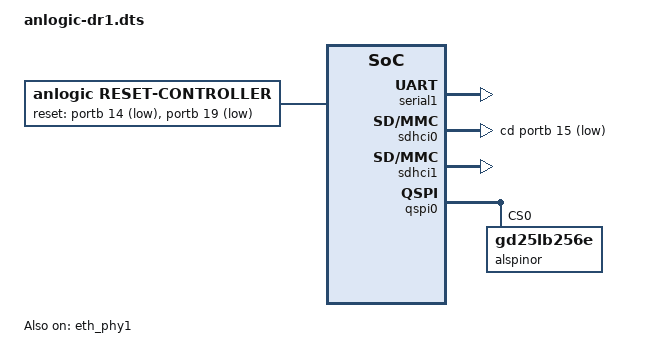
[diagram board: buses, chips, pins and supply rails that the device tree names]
// SPDX-License-Identifier: (GPL-2.0+ OR MIT)

/dts-v1/;
#include "anlogic-dr1m90.dts"
//#include "anlogic-dr1m90-softip.dts"

&cma {
	alloc-ranges = <0x0 0x00000000 0x0 0x1fffffff>;
	size = <0x0 0x8000000>;
};

&memory {
	reg = <0 0x00000000 0 0x40000000>;
};

&soc {
	leds {
		compatible = "gpio-leds";
		led1: led1 {
			gpios = <&portb 19 GPIO_ACTIVE_HIGH>;
			linux,default-trigger = "heartbeat";
			status = "disabled";
		};
	};

	keys {
		compatible = "gpio-keys";
		sw1: sw1 {
			gpios = <&portb 18 GPIO_ACTIVE_LOW>;
			linux,code = <108>;
			status = "disabled";
		};
	};

	reset: reset-controller {
		compatible = "anlogic,reset-controller";
		#reset-cells = <1>;
		reset-gpios = <&portb 14 GPIO_ACTIVE_LOW>, <&portb 19 GPIO_ACTIVE_LOW>;
		reset-delays = <10>, <10>;
		reset-post-delays = <0>, <100>;
	};
};

&serial0 {
	status = "disabled";
};

&serial1 {
	status = "okay";
};

&i2c0 {
	status = "disabled";
	
};

&i2c1 {
	 status = "disabled";

};

&gpio0 {
	status = "okay";
};

&gpio1 {
	status = "okay";
};

&gpio2 {
	status = "okay";
};

&gpio3 {
	status = "okay";
};

&eqos0 {
	phy-handle = <&eth_phy1>;
	resets = <&reset 1>;
	reset-names = "stmmaceth";
	status = "disabled";
};

&eth_phy0 {
	/* Realtek RTL8211F (0x001cc916) */
	status = "disabled";
};

&eth_phy1 {
	/* Motorcomm YT8531 (0x4f51e91b) */
	status = "okay";
};

&eqos1 {
	phy-handle = <&eth_phy3>;
	status = "disabled";
};

&eth_phy2 {
	/* Realtek RTL8211F (0x001cc916) */
	status = "disabled";
};

&eth_phy3 {
	/* Motorcomm YT8531 (0x4f51e91b) */
	status = "disabled";
};

&axidmac {
	status = "disabled";
};

&watchdog0 {
	status = "disabled";
};

&ipmscan0 {
	status = "disabled";
};

&ipmscan1 {
	status = "disabled";
};

&sdhci0 {
	status = "okay";
	cd-gpios=<&portb 15 GPIO_ACTIVE_LOW>;
};

&sdhci1 {
	status = "okay";
	//cd-gpios=<&porta 9 GPIO_ACTIVE_LOW>;
};

&ahb_dma {
	status = "okay";
};

&qspi0 {
	u-boot,dm-pre-reloc; 
	rx-sample-delay-ns = <1>;
	status = "okay";

	flash0: flash@0 {
		compatible = "gd25lb256e","jedec,spi-nor";
		label = "alspinor";
		reg = <0x0>;
		spi-tx-bus-width = <4>;
		spi-rx-bus-width = <4>;
		spi-max-frequency = <AL_QSPI_MAX_FREQUENCY>;
	};
};

&spi0 {
	status = "disabled";
};

&spi1 {
	status = "disabled";
};

&ttc0 {
	status = "disabled";
};

&ttc1 {
	status = "disabled";
};

&usb_otg0 {
	status = "disabled";
	dr_mode = "host"; 
	resets = <&reset 0>;
	reset-names = "dwc2";
};

&adc {
	status = "disabled";
};

&hard_npu { status = "disabled"; };
&jpu { status = "disabled"; };
